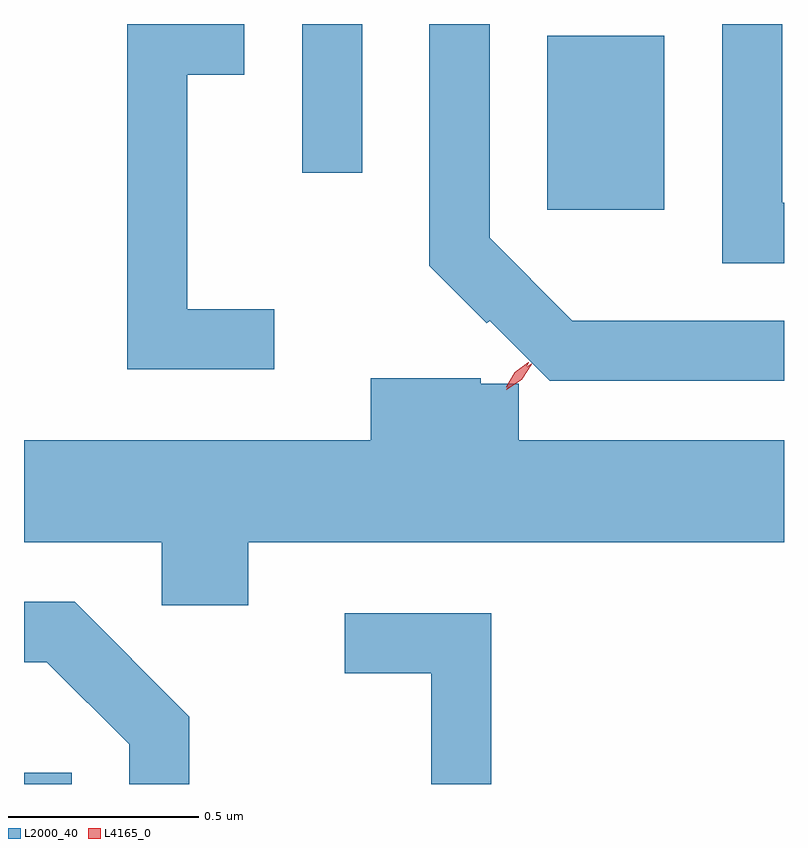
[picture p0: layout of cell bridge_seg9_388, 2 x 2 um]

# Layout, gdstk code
import gdstk
lib = gdstk.Library(unit=1e-6, precision=1e-09)
def R(c, l, rs):  # rectangles x0, y0, x1, y1
    for r in rs: c.add(gdstk.rectangle(r[:2], r[2:], *l))
def P(c, l, *ps):  # polygons
    for p in ps: c.add(gdstk.Polygon(p, *l))
L2000_40 = (2000, 40)
L4165_0 = (4165, 0)

bridge_seg9_388 = lib.new_cell('bridge_seg9_388')
R(bridge_seg9_388, L2000_40, [(1063.054,1960.1,1063.179,1960.129), (1064.431,1961.611,1064.739,1962.069), (1063.786,1961.708,1063.944,1962.1)])
P(bridge_seg9_388, L2000_40, [(1065.054,1961.319),(1064.497,1961.319),(1064.279,1961.537),(1064.279,1962.1),(1064.121,1962.1),(1064.121,1961.464),(1064.272,1961.312),(1064.279,1961.319),(1064.438,1961.161),(1065.054,1961.161)],
  [(1065.054,1961.629),(1065.049,1961.629),(1065.049,1962.1),(1064.891,1962.1),(1064.891,1961.471),(1065.054,1961.471)],
  [(1063.713,1961.349),(1063.484,1961.349),(1063.484,1961.966),(1063.634,1961.966),(1063.634,1962.1),(1063.326,1962.1),(1063.326,1961.191),(1063.713,1961.191)],
  [(1063.644,1960.736),(1065.054,1960.736),(1065.054,1961.004),(1064.356,1961.004),(1064.356,1961.153),(1064.256,1961.153),(1064.256,1961.168),(1063.966,1961.168),(1063.966,1961.004),(1063.054,1961.004),(1063.054,1960.736),(1063.416,1960.736),(1063.416,1960.571),(1063.644,1960.571)],
  [(1063.489,1960.277),(1063.187,1960.579),(1063.054,1960.579),(1063.054,1960.421),(1063.114,1960.421),(1063.331,1960.204),(1063.331,1960.1),(1063.489,1960.1)],
  [(1064.284,1960.549),(1063.898,1960.549),(1063.898,1960.391),(1064.126,1960.391),(1064.126,1960.1),(1064.284,1960.1)])
P(bridge_seg9_388, L4165_0, [(1064.323,1961.144),(1064.323,1961.145),(1064.345,1961.184),(1064.381,1961.21),(1064.382,1961.21),(1064.382,1961.209),(1064.36,1961.17),(1064.324,1961.144)],
  [(1064.323,1961.137),(1064.323,1961.138),(1064.35,1961.178),(1064.389,1961.206),(1064.39,1961.206),(1064.39,1961.205),(1064.364,1961.164),(1064.324,1961.137)])

lib.write_gds('bridge_seg9_388.gds')
